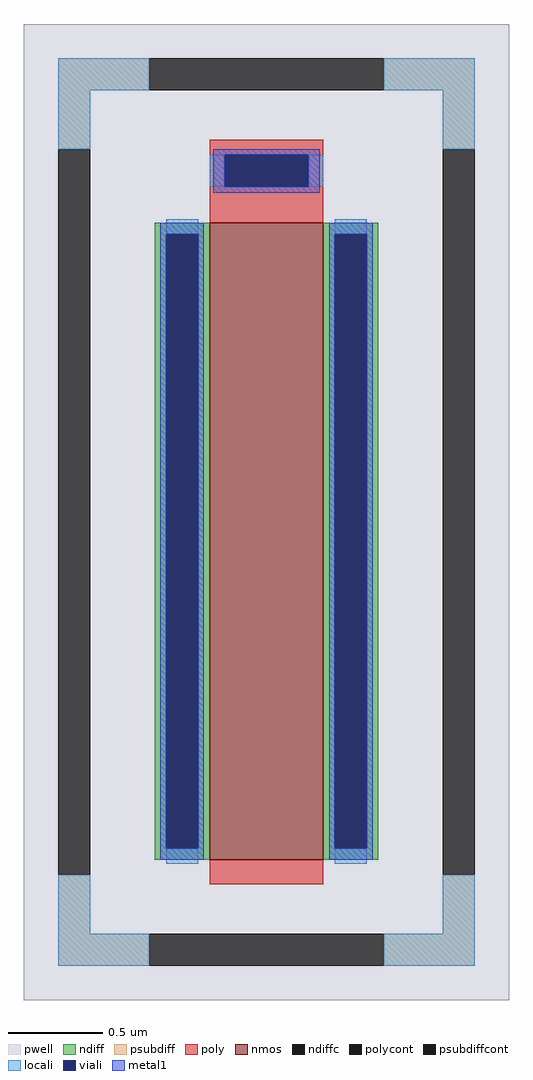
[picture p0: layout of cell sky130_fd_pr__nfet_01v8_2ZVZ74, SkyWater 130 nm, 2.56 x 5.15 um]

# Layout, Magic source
magic
tech sky130A
magscale 1 2
<< pwell >>
rect -256 -515 256 515
<< nmos >>
rect -60 -367 60 305
<< ndiff >>
rect -118 293 -60 305
rect -118 -355 -106 293
rect -72 -355 -60 293
rect -118 -367 -60 -355
rect 60 293 118 305
rect 60 -355 72 293
rect 106 -355 118 293
rect 60 -367 118 -355
<< ndiffc >>
rect -106 -355 -72 293
rect 72 -355 106 293
<< psubdiff >>
rect -220 445 -124 479
rect 124 445 220 479
rect -220 383 -186 445
rect 186 383 220 445
rect -220 -445 -186 -383
rect 186 -445 220 -383
rect -220 -479 -124 -445
rect 124 -479 220 -445
<< psubdiffcont >>
rect -124 445 124 479
rect -220 -383 -186 383
rect 186 -383 220 383
rect -124 -479 124 -445
<< poly >>
rect -60 377 60 393
rect -60 343 -44 377
rect 44 343 60 377
rect -60 305 60 343
rect -60 -393 60 -367
<< polycont >>
rect -44 343 44 377
<< locali >>
rect -220 445 -124 479
rect 124 445 220 479
rect -220 383 -186 445
rect 186 383 220 445
rect -60 343 -44 377
rect 44 343 60 377
rect -106 293 -72 309
rect -106 -371 -72 -355
rect 72 293 106 309
rect 72 -371 106 -355
rect -220 -445 -186 -383
rect 186 -445 220 -383
rect -220 -479 -124 -445
rect 124 -479 220 -445
<< viali >>
rect -44 343 44 377
rect -106 -355 -72 293
rect 72 -355 106 293
<< metal1 >>
rect -56 377 56 383
rect -56 343 -44 377
rect 44 343 56 377
rect -56 337 56 343
rect -112 293 -66 305
rect -112 -355 -106 293
rect -72 -355 -66 293
rect -112 -367 -66 -355
rect 66 293 112 305
rect 66 -355 72 293
rect 106 -355 112 293
rect 66 -367 112 -355
<< properties >>
string FIXED_BBOX -203 -462 203 462
string gencell sky130_fd_pr__nfet_01v8
string library sky130
string parameters w 3.36 l 0.6 m 1 nf 1 diffcov 100 polycov 100 guard 1 glc 1 grc 1 gtc 1 gbc 1 tbcov 100 rlcov 100 topc 1 botc 0 poverlap 0 doverlap 1 lmin 0.15 wmin 0.42 compatible {sky130_fd_pr__nfet_01v8 sky130_fd_pr__nfet_01v8_lvt  sky130_fd_bs_flash__special_sonosfet_star  sky130_fd_pr__nfet_g5v0d10v5 sky130_fd_pr__nfet_05v0_nvt  sky130_fd_pr__nfet_03v3_nvt} full_metal 1 viasrc 100 viadrn 100 viagate 100 viagb 0 viagr 0 viagl 0 viagt 0
<< end >>
